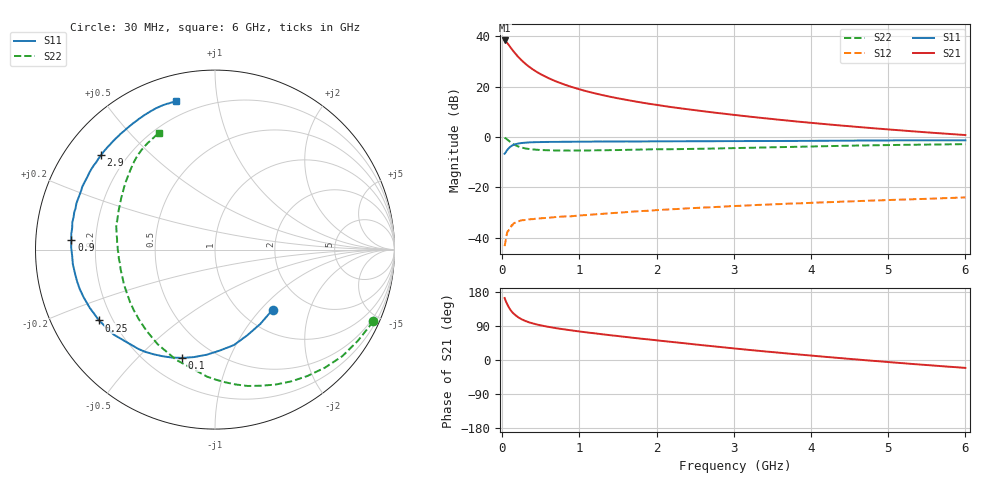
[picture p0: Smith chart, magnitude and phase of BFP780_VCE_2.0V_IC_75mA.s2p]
! Infineon Technologies  Discrete & RF Semiconductors
! BFP780
! VCE =  2.0 V,  IC =  75 mA
! Common Emitter S-Parameters:  Jul 2015
# GHz  S  MA  R  50
!  f  S11  S21  S12  S22
! GHz  MAG  ANG  MAG  ANG  MAG  ANG  MAG  ANG
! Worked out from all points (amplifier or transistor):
!   75 points, 30 MHz to 6 GHz, reference 50 ohm
!   highest |S21| = 38.3 dB at 30 MHz (marker M1)
!   |S21| within 3 dB of that: start of sweep to 112.5 MHz
!   unconditionally stable (mu >= 1): 1.839 GHz to end of sweep
!   at 150 MHz: K = 0.15, MSG = 34.0 dB, |S12| = -34.2 dB
!   at 2.3 GHz: K = 1.10, MAG = 18.0 dB, |S12| = -28.5 dB
!   at 6 GHz: K = 1.36, MAG = 8.8 dB, |S12| = -24.0 dB
!   S11 on the Smith chart (normalised r, x): 30 MHz: 1.37, -1.17; 100 MHz: 0.34, -0.69; 250 MHz: 0.15, -0.28; 900 MHz: 0.11, +0.03; 2.9 GHz: 0.11, +0.36; 6 GHz: 0.12, +0.76
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0.03  0.4638 -46.3  82.02 163.5  0.0068 70.3  0.9687 -24.4
0.05  0.5109 -69.6  76.97 153.2  0.0098 65.9  0.925 -40.0
0.06  0.5422 -78.8  74.11 148.9  0.0121 63.7  0.8985 -47.1
0.08  0.5874 -94.5  67.88 140.8  0.0138 53.4  0.8484 -59.9
0.1  0.6304 -106.8  61.69 134.1  0.016 49.0  0.8016 -71.1
0.12  0.6634 -116.6  56.08 128.4  0.0176 44.9  0.7605 -81.2
0.15  0.6987 -127.5  48.91 121.8  0.0194 39.4  0.7095 -93.5
0.2  0.7369 -140.0  39.66 113.5  0.0209 32.5  0.651 -109.5
0.25  0.757 -148.6  33.11 107.5  0.0222 29.6  0.6162 -121.3
0.3  0.7694 -155.0  28.19 102.9  0.0225 27.4  0.591 -130.5
0.35  0.7785 -159.9  24.5 99.2  0.0232 25.3  0.5748 -137.7
0.5  0.7906 -169.6  17.48 91.3  0.0243 22.7  0.5496 -152.3
0.7  0.7968 -177.8  12.56 83.9  0.0258 22.1  0.5379 -164.1
0.9  0.802 176.2  9.783 78.0  0.0267 23.2  0.5354 -171.9
1.1  0.8048 171.4  7.986 72.7  0.0282 23.9  0.5382 -177.7
1.5  0.8104 163.4  5.829 63.2  0.0314 25.1  0.5491 173.6
2.1  0.8179 153.1  4.094 49.7  0.036 25.3  0.5676 163.8
2.9  0.8249 140.4  2.854 32.7  0.0418 23.6  0.5956 151.4
3.1  0.8266 137.5  2.633 28.6  0.0432 22.8  0.6043 148.5
4.1  0.8375 123.7  1.844 9.9  0.05 19.0  0.6505 136.0
5.1  0.8534 112.7  1.371 -7.0  0.0566 14.3  0.6925 125.4
6  0.8543 104.7  1.09 -20.9  0.0631 9.6  0.7191 115.9
